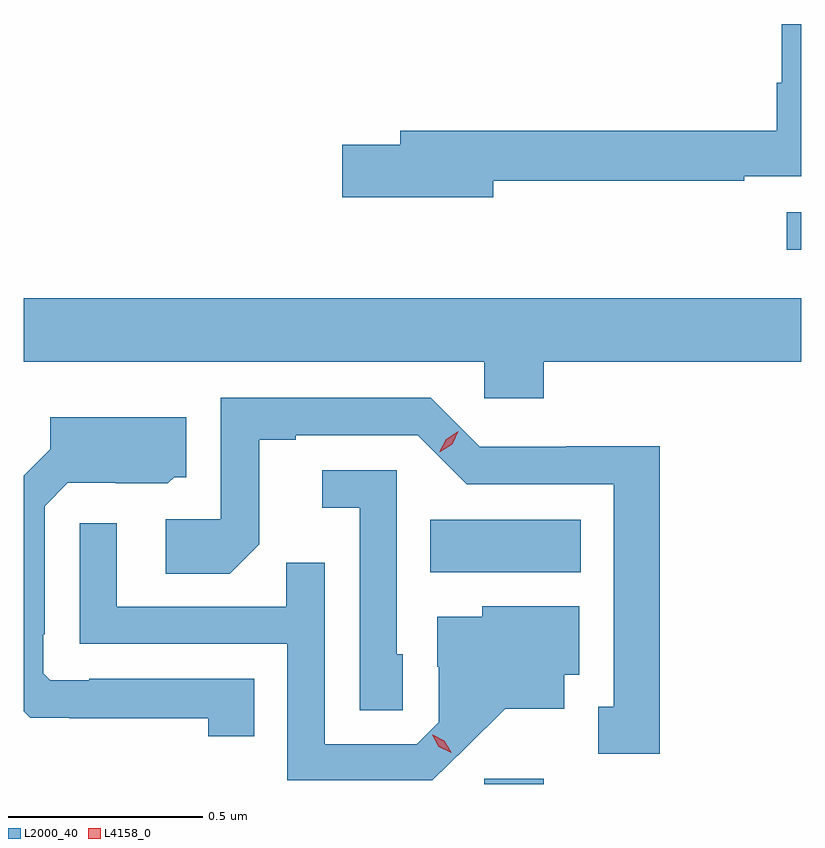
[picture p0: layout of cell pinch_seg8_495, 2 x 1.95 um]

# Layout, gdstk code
import gdstk
lib = gdstk.Library(unit=1e-6, precision=1e-09)
def R(c, l, rs):  # rectangles x0, y0, x1, y1
    for r in rs: c.add(gdstk.rectangle(r[:2], r[2:], *l))
def P(c, l, *ps):  # polygons
    for p in ps: c.add(gdstk.Polygon(p, *l))
L2000_40 = (2000, 40)
L4158_0 = (4158, 0)

pinch_seg8_495 = lib.new_cell('pinch_seg8_495')
R(pinch_seg8_495, L2000_40, [(215.208,1127.403,215.36,1127.416), (215.068,1127.948,215.455,1128.082), (215.985,1128.777,216.023,1128.873)])
P(pinch_seg8_495, L2000_40, [(215.23,1128.954),(215.876,1128.954),(215.876,1128.966),(216.023,1128.966),(216.023,1129.357),(215.972,1129.357),(215.972,1129.206),(215.96,1129.206),(215.96,1129.082),(214.991,1129.082),(214.991,1129.046),(214.842,1129.046),(214.842,1128.911),(215.23,1128.911)],
  [(215.36,1128.488),(216.023,1128.488),(216.023,1128.652),(214.023,1128.652),(214.023,1128.488),(215.208,1128.488),(215.208,1128.395),(215.36,1128.395)],
  [(215.659,1128.272),(215.418,1128.272),(215.418,1128.27),(215.196,1128.27),(215.07,1128.396),(214.53,1128.396),(214.53,1128.084),(214.389,1128.084),(214.389,1127.944),(214.553,1127.944),(214.629,1128.02),(214.629,1128.288),(214.723,1128.288),(214.723,1128.3),(215.037,1128.3),(215.163,1128.174),(215.54,1128.174),(215.54,1127.601),(215.501,1127.601),(215.501,1127.481),(215.659,1127.481)],
  [(214.616,1127.673),(214.192,1127.673),(214.192,1127.67),(214.092,1127.67),(214.074,1127.688),(214.074,1127.788),(214.077,1127.788),(214.077,1128.117),(214.137,1128.177),(214.26,1128.177),(214.26,1128.176),(214.394,1128.176),(214.41,1128.192),(214.441,1128.192),(214.441,1128.346),(214.091,1128.346),(214.091,1128.264),(214.023,1128.196),(214.023,1127.59),(214.04,1127.573),(214.141,1127.573),(214.141,1127.572),(214.498,1127.572),(214.498,1127.526),(214.616,1127.526)],
  [(214.998,1127.736),(214.983,1127.736),(214.983,1128.21),(214.791,1128.21),(214.791,1128.113),(214.887,1128.113),(214.887,1127.593),(214.998,1127.593)],
  [(215.158,1127.495),(215.261,1127.597),(215.413,1127.597),(215.413,1127.684),(215.452,1127.684),(215.452,1127.86),(215.202,1127.86),(215.202,1127.833),(215.087,1127.833),(215.087,1127.704),(215.091,1127.704),(215.091,1127.562),(215.034,1127.505),(214.797,1127.505),(214.797,1127.972),(214.699,1127.972),(214.699,1127.859),(214.263,1127.859),(214.263,1128.073),(214.167,1128.073),(214.167,1127.763),(214.701,1127.763),(214.701,1127.412),(215.074,1127.412)])
P(pinch_seg8_495, L4158_0, [(215.093,1128.257),(215.093,1128.258),(215.11,1128.29),(215.141,1128.31),(215.141,1128.31),(215.141,1128.31),(215.125,1128.277),(215.094,1128.257)],
  [(215.122,1127.483),(215.091,1127.499),(215.074,1127.529),(215.074,1127.53),(215.075,1127.53),(215.105,1127.514),(215.122,1127.484),(215.122,1127.483)])

lib.write_gds('pinch_seg8_495.gds')
